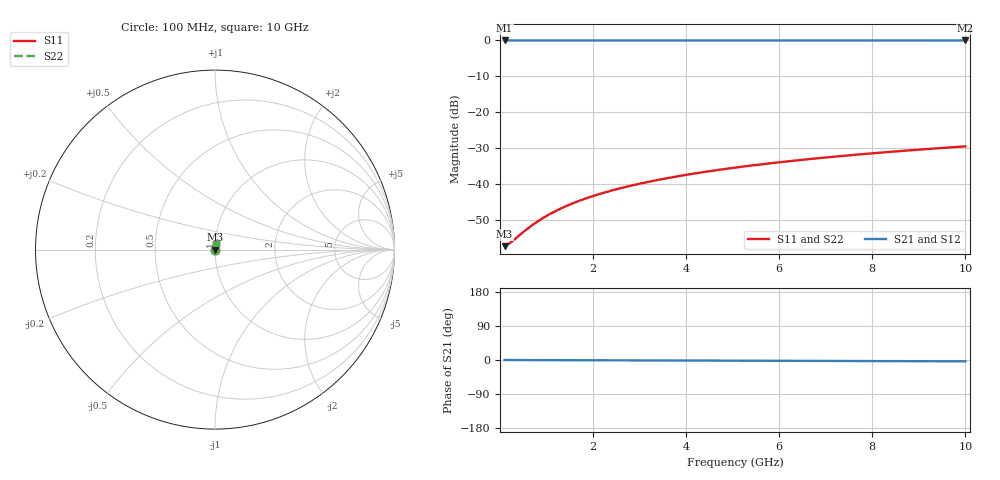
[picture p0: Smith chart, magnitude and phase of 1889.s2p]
# Hz S RI R 50.00
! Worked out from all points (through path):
!   100 points, 100 MHz to 10 GHz, reference 50 ohm
!   highest |S21| = -0.01 dB at 100 MHz (marker M1); lowest = 0.0 dB at 10 GHz (marker M2)
!   lowest |S11| = -57.2 dB at 100 MHz (marker M3), VSWR 1.00, Z = 50.1 + j0.0337 ohm
!   |S11| at or under -10 dB: start of sweep to end of sweep
!   |S22| runs from -57.2 to -29.4 dB; largest |S21 - S12| = 0
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1e8  0.00134 0.000336  0.9987 -0.000616  0.9987 -0.000616  0.00134 0.000336
2e8  0.00135 0.000672  0.9986 -0.00123  0.9986 -0.00123  0.00135 0.000672
3e8  0.00136 0.00101  0.9986 -0.00185  0.9986 -0.00185  0.00136 0.00101
6e8  0.00138 0.00202  0.9986 -0.00369  0.9986 -0.00369  0.00138 0.00202
7e8  0.00139 0.00235  0.9986 -0.00431  0.9986 -0.00431  0.00139 0.00235
8e8  0.00139 0.00269  0.9986 -0.00493  0.9986 -0.00493  0.00139 0.00269
1e9  0.00141 0.00336  0.9986 -0.00616  0.9986 -0.00616  0.00141 0.00336
1.2e9  0.00142 0.00403  0.9986 -0.00739  0.9986 -0.00739  0.00142 0.00403
1.4e9  0.00144 0.00471  0.9986 -0.00862  0.9986 -0.00862  0.00144 0.00471
1.6e9  0.00145 0.00538  0.9985 -0.00985  0.9985 -0.00985  0.00145 0.00538
1.8e9  0.00147 0.00605  0.9985 -0.0111  0.9985 -0.0111  0.00147 0.00605
2.1e9  0.0015 0.00706  0.9985 -0.0129  0.9985 -0.0129  0.0015 0.00706
2.5e9  0.00154 0.0084  0.9984 -0.0154  0.9984 -0.0154  0.00154 0.0084
2.9e9  0.00159 0.00974  0.9984 -0.0179  0.9984 -0.0179  0.00159 0.00974
3.4e9  0.00167 0.0114  0.9983 -0.0209  0.9983 -0.0209  0.00167 0.0114
4.2e9  0.0018 0.0141  0.9981 -0.0259  0.9981 -0.0259  0.0018 0.0141
5.1e9  0.00199 0.0171  0.9979 -0.0314  0.9979 -0.0314  0.00199 0.0171
5.9e9  0.00218 0.0198  0.9977 -0.0363  0.9977 -0.0363  0.00218 0.0198
6.7e9  0.0024 0.0225  0.9974 -0.0413  0.9974 -0.0413  0.0024 0.0225
7.5e9  0.00264 0.0252  0.9971 -0.0462  0.9971 -0.0462  0.00264 0.0252
8.4e9  0.00295 0.0282  0.9968 -0.0517  0.9968 -0.0517  0.00295 0.0282
1e10  0.00358 0.0335  0.996 -0.0616  0.996 -0.0616  0.00358 0.0335
